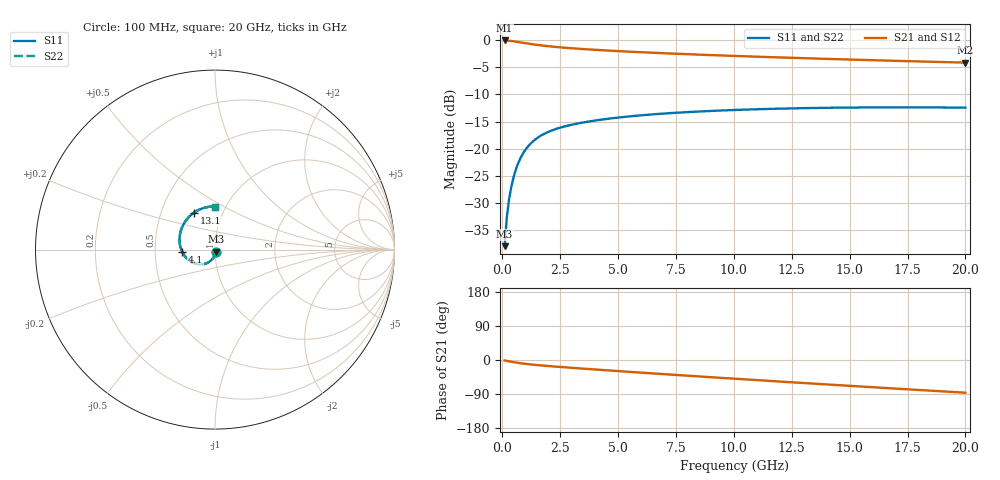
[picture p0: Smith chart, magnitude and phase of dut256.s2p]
! Touchstone file exported from HFSS 2023.1.0
!  File:  D:/Users/fzz/RDL_TSV/temp_RDL_TSV_256_1778760704.aedt
!  Generated:  8:21:01 %x4E0B%x5348  5%x6708 14, 2026
!  Design:  RDL_TSV
!  Project:  temp_RDL_TSV_256_1778760704
!  Setup:  Setup1
!  Solution:  Sweep
! Variables:
!  dtsv = 20.73um
!  hbump = 3um
!  htsv = 65.77um
!  ldown = 118.27um
!  lrdl = 114.63um
!  p = 40
!  p1 = 53.3um
!  rhole = 10um
!  subl = 813.33um
!  t = 450um
!  tdown = 2.42um
!  trdl = 4.23um
!  viad = 10um
!  wdown = 21.04um
!  wrdl = 26.89um
!  xbump = 18um
# GHz S MA R 50.000000
! Terminal data exported
! Port[1] = TM1_1_T1
! Port[2] = TM1_4_T1
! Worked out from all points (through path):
!   200 points, 100 MHz to 20 GHz, reference 50 ohm
!   highest |S21| = -0.05 dB at 100 MHz (marker M1); lowest = -4.1 dB at 20 GHz (marker M2)
!   group delay of S21, straight-line fit = 11.1 ps
!   lowest |S11| = -38.0 dB at 100 MHz (marker M3), VSWR 1.03, Z = 50.4 - j1.22 ohm
!   |S11| at or under -10 dB: start of sweep to end of sweep
!   |S22| runs from -38.0 to -12.4 dB; largest |S21 - S12| = 1.5e-14
!   S11 on the Smith chart (normalised r, x): 100 MHz: 1.01, -0.02; 4.1 GHz: 0.69, -0.02; 13.1 GHz: 0.73, +0.32; 20 GHz: 0.89, +0.45
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0.1  0.01262 -72.9  0.9945 -1.3  0.9945 -1.3  0.01262 -72.9
! Gamma 0 0 0 0
! Port Impedance 50 0 50 0
0.2  0.02378 -87.4  0.9919 -2.5  0.9919 -2.5  0.02378 -87.4
0.3  0.03491 -95.2  0.9878 -3.7  0.9878 -3.7  0.03491 -95.2
0.4  0.04567 -101.1  0.9824 -4.8  0.9824 -4.8  0.04567 -101.1
0.5  0.05592 -106.1  0.976 -5.9  0.976 -5.9  0.05592 -106.1
0.6  0.06557 -110.7  0.9689 -6.9  0.9689 -6.9  0.06557 -110.7
0.7  0.07458 -114.8  0.9615 -7.8  0.9615 -7.8  0.07457 -114.8
0.9  0.09062 -122.2  0.9462 -9.5  0.9462 -9.5  0.09062 -122.2
1.1  0.1042 -128.6  0.9314 -10.9  0.9314 -10.9  0.1042 -128.6
1.3  0.1155 -134.2  0.9178 -12.2  0.9178 -12.2  0.1156 -134.2
1.5  0.1251 -139.2  0.9055 -13.4  0.9055 -13.4  0.1251 -139.2
1.8  0.1368 -145.6  0.8892 -15.0  0.8892 -15.0  0.1368 -145.6
2.5  0.1562 -157.4  0.8594 -18.4  0.8594 -18.4  0.1562 -157.4
3.5  0.1745 -169.9  0.8281 -22.8  0.8281 -22.8  0.1745 -169.9
4.1  0.1829 -176.2  0.813 -25.4  0.813 -25.4  0.183 -176.2
5.4  0.1975 171.7  0.7855 -30.9  0.7855 -30.9  0.1976 171.7
6.8  0.2094 160.2  0.761 -36.6  0.761 -36.6  0.2096 160.2
10.1  0.2276 137.1  0.7151 -49.7  0.7151 -49.7  0.2279 137.1
13.1  0.2365 119.8  0.6816 -61.1  0.6816 -61.1  0.2369 119.7
13.4  0.2371 118.2  0.6785 -62.2  0.6785 -62.2  0.2375 118.2
16.7  0.2404 102.7  0.6476 -74.4  0.6476 -74.4  0.2409 102.7
20  0.2388 90.2  0.6213 -86.3  0.6213 -86.3  0.2394 90.1
